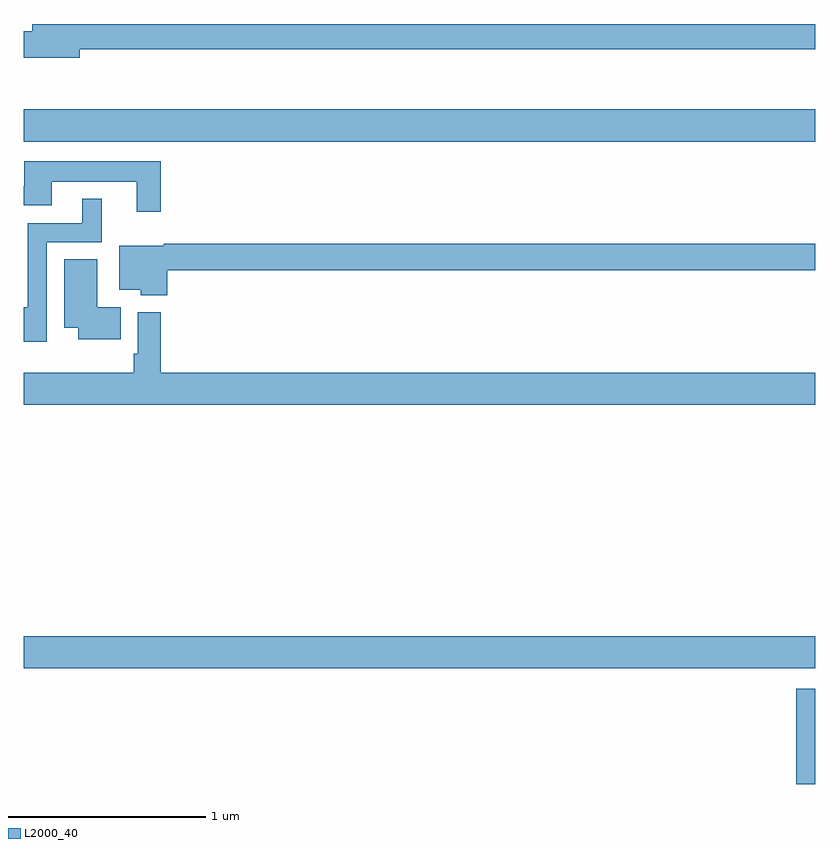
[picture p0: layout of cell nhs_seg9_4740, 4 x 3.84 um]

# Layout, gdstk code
import gdstk
lib = gdstk.Library(unit=1e-6, precision=1e-09)
def R(c, l, rs):  # rectangles x0, y0, x1, y1
    for r in rs: c.add(gdstk.rectangle(r[:2], r[2:], *l))
def P(c, l, *ps):  # polygons
    for p in ps: c.add(gdstk.Polygon(p, *l))
L2000_40 = (2000, 40)

nhs_seg9_4740 = lib.new_cell('nhs_seg9_4740')
R(nhs_seg9_4740, L2000_40, [(388.904,1198.5,389,1198.981), (385,1199.084,389,1199.248), (385,1201.748,389,1201.912)])
P(nhs_seg9_4740, L2000_40, [(385.282,1202.214),(389,1202.214),(389,1202.342),(385.043,1202.342),(385.043,1202.306),(385,1202.306),(385,1202.171),(385.282,1202.171)],
  [(385.693,1201.648),(385.001,1201.648),(385.001,1201.521),(385,1201.521),(385,1201.425),(385.141,1201.425),(385.141,1201.544),(385.571,1201.544),(385.571,1201.392),(385.693,1201.392)],
  [(385.116,1201.239),(385.393,1201.239),(385.393,1201.459),(385.295,1201.459),(385.295,1201.335),(385.019,1201.335),(385.019,1200.911),(385,1200.911),(385,1200.735),(385.116,1200.735)],
  [(385.724,1201.096),(389,1201.096),(389,1201.232),(385.707,1201.232),(385.707,1201.222),(385.481,1201.222),(385.481,1200.998),(385.59,1200.998),(385.59,1200.971),(385.724,1200.971)],
  [(385.49,1200.91),(385.372,1200.91),(385.372,1201.154),(385.205,1201.154),(385.205,1200.806),(385.274,1200.806),(385.274,1200.749),(385.49,1200.749)],
  [(389,1200.58),(385.691,1200.58),(385.691,1200.886),(385.575,1200.886),(385.575,1200.676),(385.555,1200.676),(385.555,1200.58),(385,1200.58),(385,1200.416),(389,1200.416)])

lib.write_gds('nhs_seg9_4740.gds')
